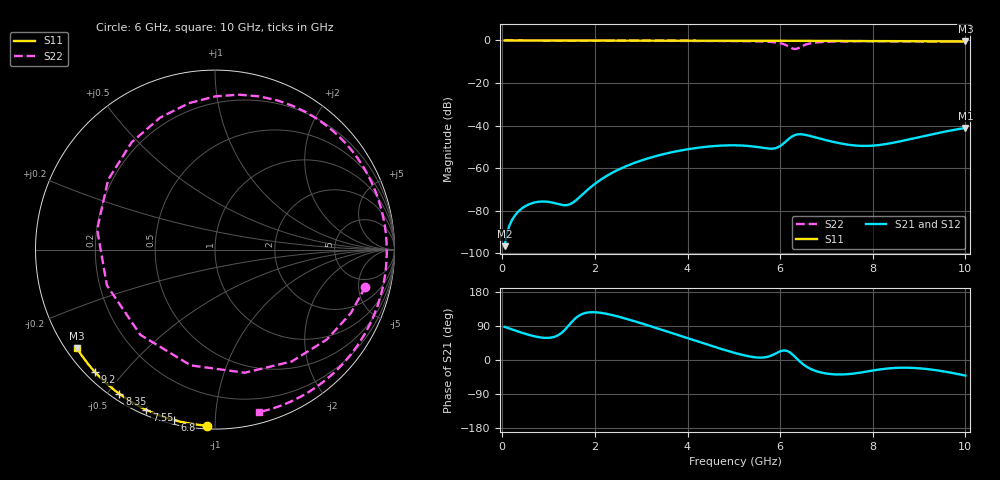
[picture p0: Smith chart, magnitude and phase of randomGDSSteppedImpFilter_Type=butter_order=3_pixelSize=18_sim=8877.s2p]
! freq	dB(S11)	phase(S11)	dB(S12)	phase(S12)
!  dB(S21)	phase(S21)	dB(S22)	phase(S22)
!S-par simulation data
#  GHz  S  DB  R 50
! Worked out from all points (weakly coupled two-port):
!   200 points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, 50 MHz to 10 GHz, reference 50 ohm
!   highest |S21| = -41.08 dB at 10 GHz (marker M1); lowest = -96.6 dB at 50 MHz (marker M2)
!   lowest |S11| = -0.5 dB at 10 GHz (marker M3), VSWR 35.51, Z = 1.55 - j16 ohm
!   |S11| at or under -10 dB: nowhere
!   |S22| runs from -4.0 to 0.0 dB; largest |S21 - S12| = 0
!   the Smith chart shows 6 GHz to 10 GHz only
!   S11 on the Smith chart (normalised r, x): 6 GHz: 0.02, -0.96; 6.8 GHz: 0.02, -0.79; 7.55 GHz: 0.02, -0.66; 8.35 GHz: 0.02, -0.54; 9.2 GHz: 0.03, -0.42; 10 GHz: 0.03, -0.32
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0.05  -0.00 -0.8  -96.65 87.4  -96.65 87.4  -0.00 -3.7
0.9  -0.02 -15.0  -75.68 58.6  -75.68 58.6  -0.08 -63.9
1.4  -0.03 -23.2  -77.33 86.2  -77.33 86.2  -0.11 -96.0
1.75  -0.04 -28.9  -71.98 122.5  -71.98 122.5  -0.13 -116.8
2.55  -0.05 -41.7  -60.26 113.1  -60.26 113.1  -0.16 -160.0
3.4  -0.07 -54.9  -53.85 81.4  -53.85 81.4  -0.19 158.0
4.3  -0.10 -68.5  -50.20 45.7  -50.20 45.7  -0.24 114.1
5.05  -0.12 -79.3  -49.28 17.7  -49.28 17.7  -0.30 74.3
5.6  -0.14 -87.1  -50.36 6.4  -50.36 6.4  -0.48 37.0
6  -0.16 -92.6  -49.61 22.9  -49.61 22.9  -1.28 -13.8
6.1  -0.17 -94.0  -47.89 25.1  -47.89 25.1  -1.94 -38.7
6.2  -0.17 -95.3  -45.99 20.7  -45.99 20.7  -3.03 -76.4
6.3  -0.18 -96.7  -44.62 10.7  -44.62 10.7  -4.00 -131.2
6.4  -0.18 -98.0  -44.07 -1.1  -44.07 -1.1  -3.53 170.3
6.55  -0.19 -100.0  -44.37 -16.0  -44.37 -16.0  -1.98 112.6
6.7  -0.20 -102.0  -45.18 -25.8  -45.18 -25.8  -1.18 81.2
6.8  -0.20 -103.4  -45.77 -30.2  -45.77 -30.2  -0.90 67.3
7.1  -0.22 -107.3  -47.43 -37.3  -47.43 -37.3  -0.55 39.4
7.55  -0.25 -113.2  -49.20 -36.3  -49.20 -36.3  -0.41 12.6
8.35  -0.32 -123.5  -48.42 -22.1  -48.42 -22.1  -0.37 -21.8
9.2  -0.40 -134.3  -44.45 -24.3  -44.45 -24.3  -0.43 -51.1
10  -0.49 -144.5  -41.08 -41.3  -41.08 -41.3  -0.56 -74.8
